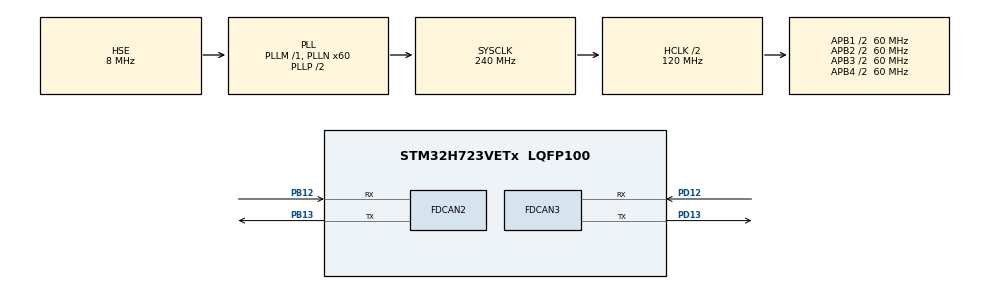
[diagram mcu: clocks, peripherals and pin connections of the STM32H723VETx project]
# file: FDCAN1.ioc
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CORTEX_M7.default_mode_Activation=1
FDCAN2.DataSyncJumpWidth=8
FDCAN2.DataTimeSeg1=31
FDCAN2.DataTimeSeg2=8
FDCAN2.ExtFiltersNbr=0
FDCAN2.Mode=FDCAN_MODE_NORMAL
FDCAN2.NominalSyncJumpWidth=8
FDCAN2.NominalTimeSeg1=31
FDCAN2.NominalTimeSeg2=8
FDCAN2.RxBuffersNbr=1
FDCAN2.RxFifo0ElmtsNbr=1
FDCAN2.RxFifo1ElmtsNbr=2
FDCAN2.StdFiltersNbr=1
FDCAN2.TxBuffersNbr=16
FDCAN2.TxEventsNbr=16
FDCAN2.TxFifoQueueElmtsNbr=16
FDCAN3.DataSyncJumpWidth=8
FDCAN3.DataTimeSeg1=31
FDCAN3.DataTimeSeg2=8
FDCAN3.Mode=FDCAN_MODE_NORMAL
FDCAN3.NominalSyncJumpWidth=8
FDCAN3.NominalTimeSeg1=31
FDCAN3.NominalTimeSeg2=8
FDCAN3.RxBuffersNbr=1
FDCAN3.RxFifo1ElmtsNbr=2
FDCAN3.StdFiltersNbr=1
FDCAN3.TxBuffersNbr=16
FDCAN3.TxEventsNbr=16
FDCAN3.TxFifoQueueElmtsNbr=16
Mcu.Family=STM32H7
Mcu.Name=STM32H723VETx
Mcu.Package=LQFP100
NVIC.FDCAN2_IT0_IRQn=true\:0\:0\:false\:false\:true\:true\:true\:true
NVIC.FDCAN3_IT0_IRQn=true\:0\:0\:false\:false\:true\:true\:true\:true
NVIC.PriorityGroup=NVIC_PRIORITYGROUP_4
PB12.GPIO_PuPd=GPIO_PULLUP
PB12.GPIO_Speed=GPIO_SPEED_FREQ_VERY_HIGH
PB12.Mode=FDCAN_Activate
PB12.Signal=FDCAN2_RX
PB13.GPIO_PuPd=GPIO_PULLUP
PB13.GPIO_Speed=GPIO_SPEED_FREQ_VERY_HIGH
PB13.Mode=FDCAN_Activate
PB13.Signal=FDCAN2_TX
PD12.GPIO_PuPd=GPIO_PULLUP
PD12.GPIO_Speed=GPIO_SPEED_FREQ_VERY_HIGH
PD12.Mode=FDCAN_Activate
PD12.Signal=FDCAN3_RX
PD13.GPIO_PuPd=GPIO_PULLUP
PD13.GPIO_Speed=GPIO_SPEED_FREQ_VERY_HIGH
PD13.Mode=FDCAN_Activate
PD13.Signal=FDCAN3_TX
PH0-OSC_IN.Mode=HSE-External-Oscillator
PH0-OSC_IN.Signal=RCC_OSC_IN
PH1-OSC_OUT.Mode=HSE-External-Oscillator
PH1-OSC_OUT.Signal=RCC_OSC_OUT
ProjectManager.HeapSize=0x200
ProjectManager.StackSize=0x400
ProjectManager.TargetToolchain=MDK-ARM V5.32
RCC.ADCFreq_Value=16125000
RCC.APB1Freq_Value=60000000
RCC.APB2Freq_Value=60000000
RCC.APB3Freq_Value=60000000
RCC.APB4Freq_Value=60000000
RCC.CortexFreq_Value=240000000
RCC.D1PPRE=RCC_APB3_DIV2
RCC.D2PPRE1=RCC_APB1_DIV2
RCC.D2PPRE2=RCC_APB2_DIV2
RCC.D3PPRE=RCC_APB4_DIV2
RCC.DIVM1=1
RCC.DIVN1=60
RCC.DIVQ1=24
RCC.HCLKFreq_Value=120000000
RCC.HPRE=RCC_HCLK_DIV2
RCC.HSE_VALUE=8000000
RCC.PLLFRACN=0
RCC.PLLSourceVirtual=RCC_PLLSOURCE_HSE
RCC.SYSCLKFreq_VALUE=240000000
RCC.SYSCLKSource=RCC_SYSCLKSOURCE_PLLCLK
RCC.USBFreq_Value=20000000
board=custom

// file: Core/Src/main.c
/* USER CODE BEGIN Header */
/**
  ******************************************************************************
  * @file           : main.c
  * @brief          : Main program body
  ******************************************************************************
  * @attention
  *
  * Copyright (c) 2022 STMicroelectronics.
  * All rights reserved.
  *
  * This software is licensed under terms that can be found in the LICENSE file
  * in the root directory of this software component.
  * If no LICENSE file comes with this software, it is provided AS-IS.
  *
  ******************************************************************************
  */
/* USER CODE END Header */
#include "main.h"

/* USER CODE BEGIN PM */

FDCAN_RxHeaderTypeDef RxHeader;
FDCAN_TxHeaderTypeDef TxHeader;
uint8_t RxData[8];
uint8_t TxData[8] = {'L', 'a', 'o', 'L', 'i', '1', '2', '3'};
uint8_t count = 0;
/* USER CODE END PM */

FDCAN_HandleTypeDef hfdcan2;
FDCAN_HandleTypeDef hfdcan3;

void SystemClock_Config(void);
static void MPU_Config(void);
static void MX_GPIO_Init(void);
static void MX_FDCAN2_Init(void);
static void MX_FDCAN3_Init(void);

int main(void)
{

  /* MPU Configuration--------------------------------------------------------*/
  MPU_Config();

  /* MCU Configuration--------------------------------------------------------*/

  /* Reset of all peripherals, Initializes the Flash interface and the Systick. */
  HAL_Init();

  /* Configure the system clock */
  SystemClock_Config();

  /* Initialize all configured peripherals */
  MX_GPIO_Init();
  MX_FDCAN2_Init();
  MX_FDCAN3_Init();

  /* Infinite loop */
  /* USER CODE BEGIN WHILE */
  while (1)
  {

		//	 	HAL_GPIO_WritePin(GPIOD, GPIO_PIN_12, GPIO_PIN_RESET);
		//	 	HAL_GPIO_WritePin(GPIOD, GPIO_PIN_13, GPIO_PIN_RESET);

		HAL_Delay(200);
    HAL_FDCAN_AddMessageToTxFifoQ(&hfdcan2, &TxHeader, TxData);
		HAL_FDCAN_AddMessageToTxFifoQ(&hfdcan3, &TxHeader, TxData);

		count++;
		TxData[1]++;
			// 	HAL_GPIO_WritePin(GPIOD, GPIO_PIN_12, GPIO_PIN_SET);
			// 	HAL_GPIO_WritePin(GPIOD, GPIO_PIN_13, GPIO_PIN_SET);
			HAL_Delay(100);
    /* USER CODE END WHILE */

  }
}

void SystemClock_Config(void)
{
  RCC_OscInitTypeDef RCC_OscInitStruct = {0};
  RCC_ClkInitTypeDef RCC_ClkInitStruct = {0};

  /** Supply configuration update enable
  */
  HAL_PWREx_ConfigSupply(PWR_LDO_SUPPLY);

  /** Configure the main internal regulator output voltage
  */
  __HAL_PWR_VOLTAGESCALING_CONFIG(PWR_REGULATOR_VOLTAGE_SCALE2);

  while(!__HAL_PWR_GET_FLAG(PWR_FLAG_VOSRDY)) {}

  /** Initializes the RCC Oscillators according to the specified parameters
  * in the RCC_OscInitTypeDef structure.
  */
  RCC_OscInitStruct.OscillatorType = RCC_OSCILLATORTYPE_HSE;
  RCC_OscInitStruct.HSEState = RCC_HSE_ON;
  RCC_OscInitStruct.PLL.PLLState = RCC_PLL_ON;
  RCC_OscInitStruct.PLL.PLLSource = RCC_PLLSOURCE_HSE;
  RCC_OscInitStruct.PLL.PLLM = 1;
  RCC_OscInitStruct.PLL.PLLN = 60;
  RCC_OscInitStruct.PLL.PLLP = 2;
  RCC_OscInitStruct.PLL.PLLQ = 24;
  RCC_OscInitStruct.PLL.PLLR = 2;
  RCC_OscInitStruct.PLL.PLLRGE = RCC_PLL1VCIRANGE_3;
  RCC_OscInitStruct.PLL.PLLVCOSEL = RCC_PLL1VCOWIDE;
  RCC_OscInitStruct.PLL.PLLFRACN = 0;
  if (HAL_RCC_OscConfig(&RCC_OscInitStruct) != HAL_OK)
  {
    Error_Handler();
  }

  /** Initializes the CPU, AHB and APB buses clocks
  */
  RCC_ClkInitStruct.ClockType = RCC_CLOCKTYPE_HCLK|RCC_CLOCKTYPE_SYSCLK
                              |RCC_CLOCKTYPE_PCLK1|RCC_CLOCKTYPE_PCLK2
                              |RCC_CLOCKTYPE_D3PCLK1|RCC_CLOCKTYPE_D1PCLK1;
  RCC_ClkInitStruct.SYSCLKSource = RCC_SYSCLKSOURCE_PLLCLK;
  RCC_ClkInitStruct.SYSCLKDivider = RCC_SYSCLK_DIV1;
  RCC_ClkInitStruct.AHBCLKDivider = RCC_HCLK_DIV2;
  RCC_ClkInitStruct.APB3CLKDivider = RCC_APB3_DIV2;
  RCC_ClkInitStruct.APB1CLKDivider = RCC_APB1_DIV2;
  RCC_ClkInitStruct.APB2CLKDivider = RCC_APB2_DIV2;
  RCC_ClkInitStruct.APB4CLKDivider = RCC_APB4_DIV2;

  if (HAL_RCC_ClockConfig(&RCC_ClkInitStruct, FLASH_LATENCY_2) != HAL_OK)
  {
    Error_Handler();
  }
}

static void MX_FDCAN2_Init(void)
{

  hfdcan2.Instance = FDCAN2;
  hfdcan2.Init.FrameFormat = FDCAN_FRAME_CLASSIC;
  hfdcan2.Init.Mode = FDCAN_MODE_NORMAL;
  hfdcan2.Init.AutoRetransmission = DISABLE;
  hfdcan2.Init.TransmitPause = DISABLE;
  hfdcan2.Init.ProtocolException = DISABLE;
  hfdcan2.Init.NominalPrescaler = 1;
  hfdcan2.Init.NominalSyncJumpWidth = 8;
  hfdcan2.Init.NominalTimeSeg1 = 31;
  hfdcan2.Init.NominalTimeSeg2 = 8;
  hfdcan2.Init.DataPrescaler = 1;
  hfdcan2.Init.DataSyncJumpWidth = 8;
  hfdcan2.Init.DataTimeSeg1 = 31;
  hfdcan2.Init.DataTimeSeg2 = 8;
  hfdcan2.Init.MessageRAMOffset = 0;
  hfdcan2.Init.StdFiltersNbr = 1;
  hfdcan2.Init.ExtFiltersNbr = 0;
  hfdcan2.Init.RxFifo0ElmtsNbr = 1;
  hfdcan2.Init.RxFifo0ElmtSize = FDCAN_DATA_BYTES_8;
  hfdcan2.Init.RxFifo1ElmtsNbr = 2;
  hfdcan2.Init.RxFifo1ElmtSize = FDCAN_DATA_BYTES_8;
  hfdcan2.Init.RxBuffersNbr = 1;
  hfdcan2.Init.RxBufferSize = FDCAN_DATA_BYTES_8;
  hfdcan2.Init.TxEventsNbr = 16;
  hfdcan2.Init.TxBuffersNbr = 16;
  hfdcan2.Init.TxFifoQueueElmtsNbr = 16;
  hfdcan2.Init.TxFifoQueueMode = FDCAN_TX_FIFO_OPERATION;
  hfdcan2.Init.TxElmtSize = FDCAN_DATA_BYTES_8;
  if (HAL_FDCAN_Init(&hfdcan2) != HAL_OK)
  {
    Error_Handler();
  }
  /* USER CODE BEGIN FDCAN2_Init 2 */

	FDCAN_FilterTypeDef sFilterConfig;

  sFilterConfig.IdType = FDCAN_STANDARD_ID;
	sFilterConfig.FilterIndex = 0;
	sFilterConfig.FilterType = FDCAN_FILTER_RANGE;
sFilterConfig.FilterConfig = FDCAN_FILTER_TO_RXFIFO0;
sFilterConfig.FilterID1 = 0x0;
sFilterConfig.FilterID2 = 0xFFF;
	 if (HAL_FDCAN_ConfigFilter(&hfdcan2, &sFilterConfig) != HAL_OK)
	 {
    Error_Handler();

  }

//  sFilterConfig.IdType = FDCAN_EXTENDED_ID;

//  sFilterConfig.FilterIndex = 0;

//  sFilterConfig.FilterType = FDCAN_FILTER_MASK;

//  sFilterConfig.FilterConfig = FDCAN_FILTER_TO_RXFIFO0;

//  sFilterConfig.FilterID1 = 0x00000026;

//  sFilterConfig.FilterID2 = 0x1FFFFFFF;

//  if (HAL_FDCAN_ConfigFilter(&hfdcan2, &sFilterConfig) != HAL_OK)

//  {

//    Error_Handler();

//  }

  /* Configure global filter:

     Filter all remote frames with STD and EXT ID

     Reject non matching frames with STD ID and EXT ID */

//  if (HAL_FDCAN_ConfigGlobalFilter(&hfdcan2, FDCAN_REJECT, FDCAN_REJECT, FDCAN_FILTER_REMOTE, FDCAN_FILTER_REMOTE) != HAL_OK)

//  {

//    Error_Handler();

//  }

  /* Start the FDCAN module */

  if (HAL_FDCAN_Start(&hfdcan2) != HAL_OK)

  {

    Error_Handler();

  }

  if (HAL_FDCAN_ActivateNotification(&hfdcan2, FDCAN_IT_RX_FIFO0_NEW_MESSAGE, 0) != HAL_OK)

  {

    Error_Handler();

  }

//
//
//
//FDCAN_FilterTypeDef sFilterConfig;
//
//  HAL_FDCAN_ActivateNotification(&hfdcan2, FDCAN_IT_RX_FIFO0_NEW_MESSAGE, 0);
//
//  sFilterConfig.IdType = FDCAN_STANDARD_ID;   //  ????????
//  sFilterConfig.FilterIndex = 0;              //  ???????
//  sFilterConfig.FilterType = FDCAN_FILTER_RANGE;  //  ???????,??FilterID1~FilterID2????
//  sFilterConfig.FilterConfig = FDCAN_FILTER_TO_RXFIFO0;
//  sFilterConfig.FilterID1 = 0x0000;
//  sFilterConfig.FilterID2 = 0x07ff;           //  ????11?ID,?0x7ff,??????????
//  if(HAL_FDCAN_ConfigFilter(&hfdcan2, &sFilterConfig) != HAL_OK)
//    Error_Handler();
//
//  sFilterConfig.IdType = FDCAN_EXTENDED_ID;   //  ????????
//  sFilterConfig.FilterIndex = 0;              //  ???????
//  sFilterConfig.FilterType = FDCAN_FILTER_RANGE_NO_EIDM;  //  ???????,??FilterID1~FilterID2????
//  sFilterConfig.FilterConfig = FDCAN_FILTER_TO_RXFIFO1;
//  sFilterConfig.FilterID1 = 0x00000000;
//  sFilterConfig.FilterID2 = 0x01ffffff;       //  ????29?ID,?0x1fffffff,??????????
//  HAL_FDCAN_ConfigFilter(&hfdcan2, &sFilterConfig);

//  TxHeader.Identifier = 0x123;
//  TxHeader.IdType = FDCAN_STANDARD_ID;
//  TxHeader.TxFrameType = FDCAN_DATA_FRAME;
//  TxHeader.DataLength = FDCAN_DLC_BYTES_8;
//  TxHeader.ErrorStateIndicator = FDCAN_ESI_ACTIVE;
//  TxHeader.BitRateSwitch = FDCAN_BRS_OFF;
//  TxHeader.FDFormat = FDCAN_CLASSIC_CAN;
//  TxHeader.TxEventFifoControl = FDCAN_NO_TX_EVENTS;
//  TxHeader.MessageMarker = 0x52;

	// TxHeader.Identifier = 0x0fffffff;
	 TxHeader.Identifier = 0x0f;

    TxHeader.IdType = FDCAN_STANDARD_ID;

    TxHeader.TxFrameType = FDCAN_DATA_FRAME;

    TxHeader.DataLength = FDCAN_DLC_BYTES_8;

    TxHeader.ErrorStateIndicator = FDCAN_ESI_ACTIVE;

    TxHeader.BitRateSwitch = FDCAN_BRS_OFF;

    TxHeader.FDFormat = FDCAN_CLASSIC_CAN;

    TxHeader.TxEventFifoControl = FDCAN_NO_TX_EVENTS;

    TxHeader.MessageMarker = 0;

  //HAL_FDCAN_Start(&hfdcan2);
  /* USER CODE END FDCAN2_Init 2 */

}

static void MX_FDCAN3_Init(void)
{

  hfdcan3.Instance = FDCAN3;
  hfdcan3.Init.FrameFormat = FDCAN_FRAME_CLASSIC;
  hfdcan3.Init.Mode = FDCAN_MODE_NORMAL;
  hfdcan3.Init.AutoRetransmission = DISABLE;
  hfdcan3.Init.TransmitPause = DISABLE;
  hfdcan3.Init.ProtocolException = DISABLE;
  hfdcan3.Init.NominalPrescaler = 1;
  hfdcan3.Init.NominalSyncJumpWidth = 8;
  hfdcan3.Init.NominalTimeSeg1 = 31;
  hfdcan3.Init.NominalTimeSeg2 = 8;
  hfdcan3.Init.DataPrescaler = 1;
  hfdcan3.Init.DataSyncJumpWidth = 8;
  hfdcan3.Init.DataTimeSeg1 = 31;
  hfdcan3.Init.DataTimeSeg2 = 8;
  hfdcan3.Init.MessageRAMOffset = 0;
  hfdcan3.Init.StdFiltersNbr = 1;
  hfdcan3.Init.ExtFiltersNbr = 0;
  hfdcan3.Init.RxFifo0ElmtsNbr = 0;
  hfdcan3.Init.RxFifo0ElmtSize = FDCAN_DATA_BYTES_8;
  hfdcan3.Init.RxFifo1ElmtsNbr = 2;
  hfdcan3.Init.RxFifo1ElmtSize = FDCAN_DATA_BYTES_8;
  hfdcan3.Init.RxBuffersNbr = 1;
  hfdcan3.Init.RxBufferSize = FDCAN_DATA_BYTES_8;
  hfdcan3.Init.TxEventsNbr = 16;
  hfdcan3.Init.TxBuffersNbr = 16;
  hfdcan3.Init.TxFifoQueueElmtsNbr = 16;
  hfdcan3.Init.TxFifoQueueMode = FDCAN_TX_FIFO_OPERATION;
  hfdcan3.Init.TxElmtSize = FDCAN_DATA_BYTES_8;
  if (HAL_FDCAN_Init(&hfdcan3) != HAL_OK)
  {
    Error_Handler();
  }
  /* USER CODE BEGIN FDCAN3_Init 2 */

	FDCAN_FilterTypeDef sFilterConfig;

  sFilterConfig.IdType = FDCAN_STANDARD_ID;
	sFilterConfig.FilterIndex = 0;
	sFilterConfig.FilterType = FDCAN_FILTER_RANGE;
sFilterConfig.FilterConfig = FDCAN_FILTER_TO_RXFIFO0;
sFilterConfig.FilterID1 = 0x0;
sFilterConfig.FilterID2 = 0xFFF;
	 if (HAL_FDCAN_ConfigFilter(&hfdcan2, &sFilterConfig) != HAL_OK)
	 {
    Error_Handler();

  }

	 if (HAL_FDCAN_Start(&hfdcan3) != HAL_OK)

  {

    Error_Handler();

  }

  if (HAL_FDCAN_ActivateNotification(&hfdcan3, FDCAN_IT_RX_FIFO0_NEW_MESSAGE, 0) != HAL_OK)

  {

    Error_Handler();

  }

  /* USER CODE END FDCAN3_Init 2 */

}

static void MX_GPIO_Init(void)
{

  /* GPIO Ports Clock Enable */
  __HAL_RCC_GPIOH_CLK_ENABLE();
  __HAL_RCC_GPIOB_CLK_ENABLE();
  __HAL_RCC_GPIOD_CLK_ENABLE();

}

/* MPU Configuration */

void MPU_Config(void)
{
  MPU_Region_InitTypeDef MPU_InitStruct = {0};

  /* Disables the MPU */
  HAL_MPU_Disable();

  /** Initializes and configures the Region and the memory to be protected
  */
  MPU_InitStruct.Enable = MPU_REGION_ENABLE;
  MPU_InitStruct.Number = MPU_REGION_NUMBER0;
  MPU_InitStruct.BaseAddress = 0x0;
  MPU_InitStruct.Size = MPU_REGION_SIZE_4GB;
  MPU_InitStruct.SubRegionDisable = 0x87;
  MPU_InitStruct.TypeExtField = MPU_TEX_LEVEL0;
  MPU_InitStruct.AccessPermission = MPU_REGION_NO_ACCESS;
  MPU_InitStruct.DisableExec = MPU_INSTRUCTION_ACCESS_DISABLE;
  MPU_InitStruct.IsShareable = MPU_ACCESS_SHAREABLE;
  MPU_InitStruct.IsCacheable = MPU_ACCESS_NOT_CACHEABLE;
  MPU_InitStruct.IsBufferable = MPU_ACCESS_NOT_BUFFERABLE;

  HAL_MPU_ConfigRegion(&MPU_InitStruct);
  /* Enables the MPU */
  HAL_MPU_Enable(MPU_PRIVILEGED_DEFAULT);

}

void Error_Handler(void)
{
  __disable_irq();
  while (1)
  {
  }
}
